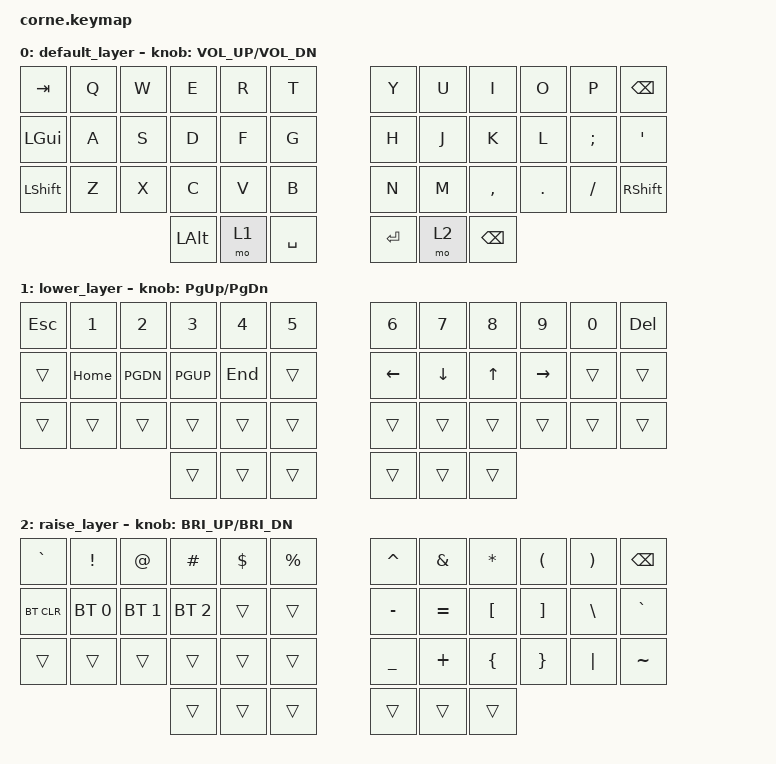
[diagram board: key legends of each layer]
/*
 * Copyright (c) 2020 The ZMK Contributors
 *
 * SPDX-License-Identifier: MIT
 */

#include <behaviors.dtsi>
#include <dt-bindings/zmk/keys.h>
#include <dt-bindings/zmk/bt.h>

/ {
    keymap {
        compatible = "zmk,keymap";

        default_layer {
            bindings = <
                &kp TAB   &kp Q &kp W &kp E &kp R &kp T        &kp Y &kp U &kp I     &kp O   &kp P    &kp BSPC
                &kp LGUI  &kp A &kp S &kp D &kp F &kp G        &kp H &kp J &kp K     &kp L   &kp SEMI &kp SQT
                &kp LSHFT &kp Z &kp X &kp C &kp V &kp B        &kp N &kp M &kp COMMA &kp DOT &kp FSLH &kp RSHFT
                                &kp LALT &mo 1 &kp SPACE        &kp RET &mo 2 &kp BSPC
            >;
            sensor-bindings = <&inc_dec_kp C_VOL_UP C_VOL_DN>;
        };

        lower_layer {
            bindings = <
                &kp ESC  &kp N1 &kp N2 &kp N3 &kp N4 &kp N5        &kp N6 &kp N7 &kp N8 &kp N9 &kp N0 &kp DEL
                &trans   &kp HOME &kp PGDN &kp PGUP &kp END &trans  &kp LEFT &kp DOWN &kp UP &kp RIGHT &trans &trans
                &trans   &trans &trans &trans &trans &trans          &trans &trans &trans &trans &trans &trans
                                &trans &trans &trans                  &trans &trans &trans
            >;
            sensor-bindings = <&inc_dec_kp PG_UP PG_DN>;
        };

        raise_layer {
            bindings = <
                &kp GRAVE &kp EXCL &kp AT &kp HASH &kp DLLR &kp PRCNT      &kp CARET &kp AMPS &kp STAR &kp LPAR &kp RPAR &kp BSPC
                &bt BT_CLR &bt BT_SEL 0 &bt BT_SEL 1 &bt BT_SEL 2 &trans &trans    &kp MINUS &kp EQL  &kp LBKT &kp RBKT &kp BSLH &kp GRAVE
                &trans     &trans       &trans       &trans       &trans &trans    &kp UNDER &kp PLUS &kp LBRC &kp RBRC &kp PIPE &kp TILDE
                                    &trans &trans &trans                            &trans &trans &trans
            >;
            sensor-bindings = <&inc_dec_kp C_BRI_UP C_BRI_DN>;
        };
    };
};
